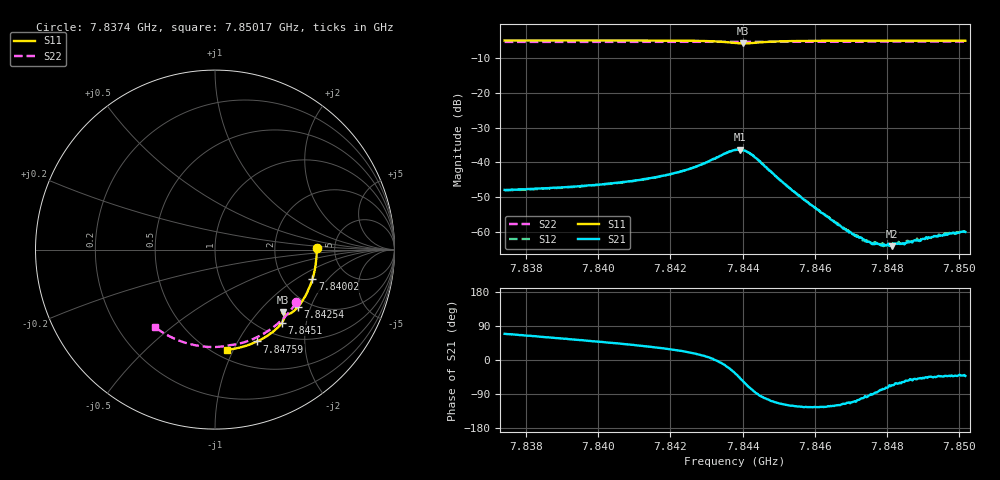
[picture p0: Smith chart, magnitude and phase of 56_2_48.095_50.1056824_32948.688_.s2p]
#  HZ  S  RI  R  50.00
! Rohde & Schwarz Vector Network Analyzer
! Rohde-Schwarz,ZNB20-2Port,1311601062101988,3.16
! Created: UTC 12/23/2023, 3:40:17 AM
! freq[Hz]  re:S11  im:S11  re:S21  im:S21  re:S12  im:S12  re:S22  im:S22
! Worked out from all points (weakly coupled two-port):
!   401 points, 7.8374 GHz to 7.85017 GHz, reference 50 ohm
!   highest |S21| = -36.32 dB at 7.84392 GHz (marker M1); lowest = -64.1 dB at 7.84813 GHz (marker M2)
!   lowest |S11| = -5.8 dB at 7.84401 GHz (marker M3), VSWR 3.12, Z = 71.9 - j68.5 ohm
!   |S11| at or under -10 dB: nowhere
!   |S22| runs from -5.4 to -5.3 dB; largest |S21 - S12| = 0.00029
!   S11 on the Smith chart (normalised r, x): 7.8374 GHz: 3.61, +0.09; 7.84002 GHz: 2.87, -1.39; 7.84254 GHz: 1.74, -1.63; 7.8451 GHz: 1.24, -1.46; 7.84759 GHz: 0.81, -1.21; 7.85017 GHz: 0.58, -0.95
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7.837404e9  0.5663 0.00818  0.00143 0.00374  0.00144 0.00366  0.4524 -0.2945
7.839542e9  0.5511 -0.1332  0.00281 0.00365  0.00278 0.00355  0.3549 -0.4078
7.840021e9  0.5427 -0.1644  0.00319 0.00358  0.00315 0.00354  0.329 -0.4291
7.841681e9  0.4976 -0.2688  0.00529 0.00331  0.00525 0.00332  0.2298 -0.4901
7.842543e9  0.4616 -0.3202  0.00765 0.00271  0.00761 0.00271  0.1737 -0.5128
7.843309e9  0.4143 -0.3581  0.0118 -0.000628  0.0118 -0.000649  0.1213 -0.5267
7.843788e9  0.3799 -0.3579  0.0123 -0.00859  0.0123 -0.00859  0.0895 -0.5317
7.843915e9  0.3763 -0.3534  0.0105 -0.0111  0.0105 -0.0111  0.0814 -0.5327
7.844011e9  0.3765 -0.3501  0.00829 -0.0123  0.00843 -0.0123  0.0754 -0.5337
7.84433e9  0.3861 -0.3554  0.00123 -0.0118  0.00136 -0.012  0.0549 -0.5374
7.845096e9  0.3729 -0.407  -0.00234 -0.00469  -0.00232 -0.00471  0.00126 -0.5427
7.845926e9  0.3317 -0.4511  -0.00135 -0.00196  -0.00134 -0.00195  -0.0574 -0.5407
7.846596e9  0.2941 -0.4786  -0.000649 -0.00115  -0.000675 -0.00117  -0.104 -0.5341
7.847043e9  0.2679 -0.4947  -0.00033 -0.000863  -0.000332 -0.000876  -0.1346 -0.5277
7.847331e9  0.2505 -0.5039  -0.000146 -0.000768  -0.000139 -0.000734  -0.1541 -0.5225
7.847586e9  0.2351 -0.5114  -1.66e-05 -0.000664  8.22e-06 -0.000679  -0.1712 -0.5172
7.847777e9  0.2233 -0.5168  9.51e-05 -0.000662  9.04e-05 -0.000652  -0.184 -0.5128
7.848065e9  0.2056 -0.5242  0.000251 -0.000573  0.000247 -0.000627  -0.2029 -0.5059
7.848129e9  0.2016 -0.5257  0.000244 -0.000573  0.000251 -0.000596  -0.2071 -0.5044
7.848416e9  0.1833 -0.5323  0.000356 -0.000579  0.00036 -0.000561  -0.2257 -0.4963
7.849661e9  0.103 -0.5533  0.000672 -0.000614  0.000682 -0.00061  -0.3023 -0.4548
7.850171e9  0.0695 -0.5583  0.000741 -0.000664  0.000761 -0.000674  -0.3316 -0.434
